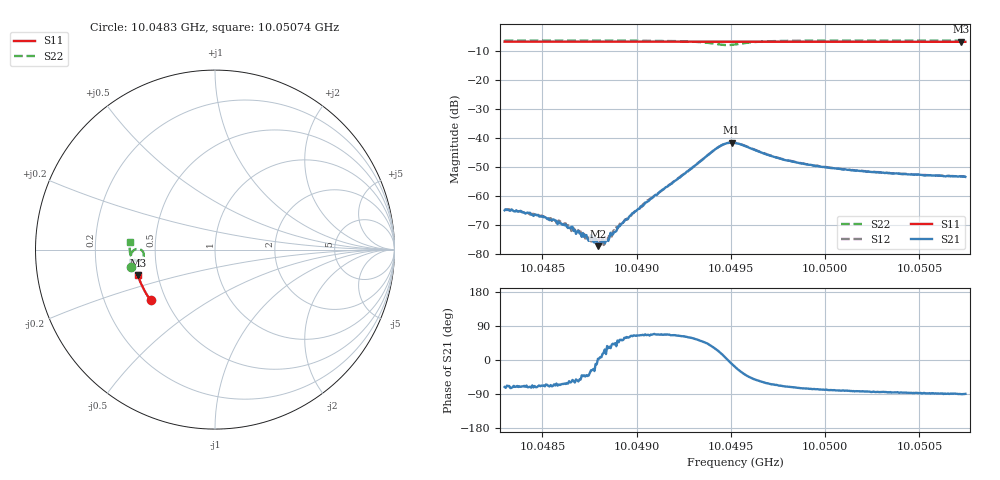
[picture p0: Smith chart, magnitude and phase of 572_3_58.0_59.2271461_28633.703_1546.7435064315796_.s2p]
#  HZ  S  RI  R  50.00
! Rohde & Schwarz Vector Network Analyzer
! Rohde-Schwarz,ZNB20-2Port,1311601062101988,3.16
! Created: UTC 3/21/2024, 1:15:58 AM
! freq[Hz]  re:S11  im:S11  re:S21  im:S21  re:S12  im:S12  re:S22  im:S22
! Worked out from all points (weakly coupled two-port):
!   401 points, 10.0483 GHz to 10.05074 GHz, reference 50 ohm
!   highest |S21| = -41.60 dB at 10.0495 GHz (marker M1); lowest = -77.3 dB at 10.04879 GHz (marker M2)
!   lowest |S11| = -6.9 dB at 10.05072 GHz (marker M3), VSWR 2.65, Z = 19.3 - j6.85 ohm
!   |S11| at or under -10 dB: nowhere
!   |S22| runs from -8.0 to -6.4 dB; largest |S21 - S12| = 0.0006
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1.0048299e10  -0.3587 -0.2823  0.000183 -0.000537  0.000215 -0.000543  -0.467 -0.0993
1.0048428e10  -0.3637 -0.2756  0.000162 -0.000484  0.000193 -0.000465  -0.4685 -0.0901
1.0048562e10  -0.3688 -0.2682  0.00017 -0.000354  0.000163 -0.000358  -0.4698 -0.0802
1.0048629e10  -0.3712 -0.2645  0.000145 -0.00026  0.00016 -0.000259  -0.4702 -0.0751
1.0048666e10  -0.3727 -0.2624  0.000142 -0.000206  0.000153 -0.000231  -0.4706 -0.0722
1.0048709e10  -0.3741 -0.2602  0.000151 -0.000128  0.000146 -0.000147  -0.4709 -0.0688
1.0048758e10  -0.3759 -0.2573  0.000189 -9.65e-05  0.000144 -8.17e-05  -0.4711 -0.0649
1.0048794e10  -0.3772 -0.2554  0.000137 7.36e-06  0.000157 -2.93e-05  -0.4713 -0.062
1.0048819e10  -0.3781 -0.254  0.00018 5.04e-05  0.00018 5.25e-05  -0.4712 -0.0599
1.0048837e10  -0.3787 -0.253  0.000164 4.62e-05  0.000164 6.95e-05  -0.4715 -0.0583
1.0048886e10  -0.3804 -0.2502  0.000172 0.00017  0.000187 0.000169  -0.4713 -0.0542
1.0048941e10  -0.3823 -0.2471  0.000209 0.000336  0.000173 0.000359  -0.4712 -0.0491
1.0049118e10  -0.3882 -0.2369  0.000443 0.00105  0.000378 0.00108  -0.4689 -0.0309
1.0049424e10  -0.3973 -0.2191  0.00589 0.00307  0.00566 0.00341  -0.4145 0.000163
1.0049467e10  -0.3983 -0.2167  0.00782 0.00114  0.00776 0.00169  -0.3985 -0.0176
1.0049504e10  -0.3993 -0.2149  0.00819 -0.00143  0.00832 -0.000887  -0.3984 -0.0406
1.0049522e10  -0.3998 -0.2139  0.0078 -0.0026  0.00798 -0.00203  -0.4037 -0.0503
1.0049736e10  -0.4067 -0.2016  0.00192 -0.00426  0.00218 -0.00416  -0.4634 -0.0444
1.0049931e10  -0.4119 -0.1898  0.00077 -0.00331  0.000974 -0.00325  -0.4727 -0.0208
1.0050341e10  -0.4219 -0.1648  0.000188 -0.00248  0.000364 -0.00247  -0.4753 0.0149
1.005072e10  -0.4296 -0.1413  8.8e-07 -0.00216  0.000136 -0.0022  -0.474 0.0426
1.0050745e10  -0.4302 -0.1398  2.3e-05 -0.00214  0.000142 -0.00213  -0.4738 0.0441
